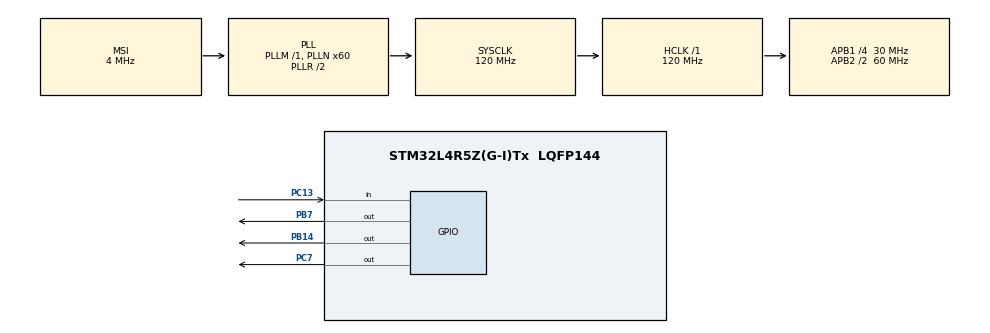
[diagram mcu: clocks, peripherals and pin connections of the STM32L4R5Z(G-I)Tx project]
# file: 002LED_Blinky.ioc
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Mcu.Family=STM32L4
Mcu.Name=STM32L4R5Z(G-I)Tx
Mcu.Package=LQFP144
NVIC.PriorityGroup=NVIC_PRIORITYGROUP_4
NVIC.TIM6_DAC_IRQn=true\:15\:0\:false\:false\:true\:false\:true
NVIC.TimeBase=TIM6_DAC_IRQn
NVIC.TimeBaseIP=TIM6
PB14.Signal=GPIO_Output
PB7.Signal=GPIO_Output
PC13.Signal=GPIO_Input
PC7.Signal=GPIO_Output
ProjectManager.HeapSize=0x200
ProjectManager.StackSize=0x400
ProjectManager.TargetToolchain=STM32CubeIDE
RCC.ADCFreq_Value=16000000
RCC.AHBFreq_Value=120000000
RCC.APB1CLKDivider=RCC_HCLK_DIV4
RCC.APB1Freq_Value=30000000
RCC.APB1TimFreq_Value=60000000
RCC.APB2CLKDivider=RCC_HCLK_DIV2
RCC.APB2Freq_Value=60000000
RCC.APB2TimFreq_Value=120000000
RCC.CortexFreq_Value=120000000
RCC.HCLKFreq_Value=120000000
RCC.HSE_VALUE=8000000
RCC.HSI48_VALUE=48000000
RCC.HSI_VALUE=16000000
RCC.LSE_VALUE=32768
RCC.MSI_VALUE=4000000
RCC.PLLN=60
RCC.SYSCLKFreq_VALUE=120000000
RCC.SYSCLKSource=RCC_SYSCLKSOURCE_PLLCLK
RCC.USBFreq_Value=16000000
RCC.VCOOutputFreq_Value=240000000
VP_SYS_VS_tim6.Mode=TIM6
board=custom

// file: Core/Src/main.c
/* USER CODE BEGIN Header */
/**
  ******************************************************************************
  * @file           : main.c
  * @brief          : Main program body
  ******************************************************************************
  * @attention
  *
  * Copyright (c) 2022 STMicroelectronics.
  * All rights reserved.
  *
  * This software is licensed under terms that can be found in the LICENSE file
  * in the root directory of this software component.
  * If no LICENSE file comes with this software, it is provided AS-IS.
  *
  ******************************************************************************
  */
/* USER CODE END Header */
#include "main.h"

/* USER CODE BEGIN Includes */
#include <stdio.h>

#include "FreeRTOS.h"
#include "task.h"
#include "SEGGER_SYSVIEW.h"

/* USER CODE END Includes */

/* USER CODE BEGIN PV */
#define DWT_CTRL (*(volatile uint32_t*) 0xE0001000)
/* USER CODE END PV */

void SystemClock_Config(void);
static void MX_GPIO_Init(void);
/* USER CODE BEGIN PFP */
BaseType_t NotifyAndSuspend(TaskHandle_t handle);
static void handler_LED_red(void* parameters);
static void handler_LED_green(void* parameters);
static void handler_LED_blue(void* parameters);
static void handler_button(void* parameters);
TaskHandle_t task_to_delete;
TaskHandle_t handle_LED_green;
TaskHandle_t handle_LED_red;
TaskHandle_t handle_LED_blue;
TaskHandle_t handle_button;

/* USER CODE END PFP */

int main(void)
{
  /* USER CODE BEGIN 1 */

	  BaseType_t status;

  /* USER CODE END 1 */

  /* MCU Configuration--------------------------------------------------------*/

  /* Reset of all peripherals, Initializes the Flash interface and the Systick. */
  HAL_Init();

  /* Configure the system clock */
  SystemClock_Config();

  /* Initialize all configured peripherals */
  MX_GPIO_Init();
  /* USER CODE BEGIN 2 */
  DWT_CTRL |= (1 << 0);

  SEGGER_SYSVIEW_Conf();
  SEGGER_SYSVIEW_Start();
//  SEGGER_UART_Init(500000);

  status = xTaskCreate(handler_LED_green, "Task-Green", 200, NULL,
              2, &handle_LED_green);
  configASSERT(status == pdPASS);

  status = xTaskCreate(handler_LED_red, "Task-Red", 200, NULL,
              2, &handle_LED_red);
  configASSERT(status == pdPASS);

  status = xTaskCreate(handler_LED_blue, "Task-Blue", 200, NULL,
              2, &handle_LED_blue);
  configASSERT(status == pdPASS);

  status = xTaskCreate(handler_button, "Task-Button", 200, NULL,
              3, &handle_button);
  configASSERT(status == pdPASS);

  vTaskStartScheduler();
  /* USER CODE END 2 */

  /* Infinite loop */
  while (1)
  {

  }
}

void SystemClock_Config(void)
{
  RCC_OscInitTypeDef RCC_OscInitStruct = {0};
  RCC_ClkInitTypeDef RCC_ClkInitStruct = {0};

  /** Configure the main internal regulator output voltage
  */
  if (HAL_PWREx_ControlVoltageScaling(PWR_REGULATOR_VOLTAGE_SCALE1_BOOST) != HAL_OK)
  {
    Error_Handler();
  }
  /** Initializes the RCC Oscillators according to the specified parameters
  * in the RCC_OscInitTypeDef structure.
  */
  RCC_OscInitStruct.OscillatorType = RCC_OSCILLATORTYPE_MSI;
  RCC_OscInitStruct.MSIState = RCC_MSI_ON;
  RCC_OscInitStruct.MSICalibrationValue = 0;
  RCC_OscInitStruct.MSIClockRange = RCC_MSIRANGE_6;
  RCC_OscInitStruct.PLL.PLLState = RCC_PLL_ON;
  RCC_OscInitStruct.PLL.PLLSource = RCC_PLLSOURCE_MSI;
  RCC_OscInitStruct.PLL.PLLM = 1;
  RCC_OscInitStruct.PLL.PLLN = 60;
  RCC_OscInitStruct.PLL.PLLP = RCC_PLLP_DIV2;
  RCC_OscInitStruct.PLL.PLLQ = RCC_PLLQ_DIV2;
  RCC_OscInitStruct.PLL.PLLR = RCC_PLLR_DIV2;
  if (HAL_RCC_OscConfig(&RCC_OscInitStruct) != HAL_OK)
  {
    Error_Handler();
  }
  /** Initializes the CPU, AHB and APB buses clocks
  */
  RCC_ClkInitStruct.ClockType = RCC_CLOCKTYPE_HCLK|RCC_CLOCKTYPE_SYSCLK
                              |RCC_CLOCKTYPE_PCLK1|RCC_CLOCKTYPE_PCLK2;
  RCC_ClkInitStruct.SYSCLKSource = RCC_SYSCLKSOURCE_PLLCLK;
  RCC_ClkInitStruct.AHBCLKDivider = RCC_SYSCLK_DIV1;
  RCC_ClkInitStruct.APB1CLKDivider = RCC_HCLK_DIV4;
  RCC_ClkInitStruct.APB2CLKDivider = RCC_HCLK_DIV2;

  if (HAL_RCC_ClockConfig(&RCC_ClkInitStruct, FLASH_LATENCY_5) != HAL_OK)
  {
    Error_Handler();
  }
}

static void MX_GPIO_Init(void)
{
  GPIO_InitTypeDef GPIO_InitStruct = {0};

  /* GPIO Ports Clock Enable */
  __HAL_RCC_GPIOC_CLK_ENABLE();
  __HAL_RCC_GPIOB_CLK_ENABLE();

  /*Configure GPIO pin Output Level */
  HAL_GPIO_WritePin(GPIOB, GPIO_PIN_14|GPIO_PIN_7, GPIO_PIN_RESET);

  /*Configure GPIO pin Output Level */
  HAL_GPIO_WritePin(GPIOC, GPIO_PIN_7, GPIO_PIN_RESET);

  /*Configure GPIO pin : PC13 */
  GPIO_InitStruct.Pin = GPIO_PIN_13;
  GPIO_InitStruct.Mode = GPIO_MODE_INPUT;
  GPIO_InitStruct.Pull = GPIO_NOPULL;
  HAL_GPIO_Init(GPIOC, &GPIO_InitStruct);

  /*Configure GPIO pins : PB14 PB7 */
  GPIO_InitStruct.Pin = GPIO_PIN_14|GPIO_PIN_7;
  GPIO_InitStruct.Mode = GPIO_MODE_OUTPUT_PP;
  GPIO_InitStruct.Pull = GPIO_NOPULL;
  GPIO_InitStruct.Speed = GPIO_SPEED_FREQ_LOW;
  HAL_GPIO_Init(GPIOB, &GPIO_InitStruct);

  /*Configure GPIO pin : PC7 */
  GPIO_InitStruct.Pin = GPIO_PIN_7;
  GPIO_InitStruct.Mode = GPIO_MODE_OUTPUT_PP;
  GPIO_InitStruct.Pull = GPIO_NOPULL;
  GPIO_InitStruct.Speed = GPIO_SPEED_FREQ_LOW;
  HAL_GPIO_Init(GPIOC, &GPIO_InitStruct);

}

/* USER CODE BEGIN 4 */
static void handler_LED_red(void* parameters)
{
	const TickType_t xPeriod = pdMS_TO_TICKS(250);
	TickType_t xLastWakeTime = xTaskGetTickCount();

  while(1)
  {
	  vTaskDelayUntil(&xLastWakeTime, xPeriod);
//    SEGGER_SYSVIEW_PrintfTarget("Toggling RED");
	  HAL_GPIO_TogglePin(GPIOB, GPIO_PIN_14);
		if (xTaskNotifyWait(0, 0, NULL, 0))
		{
			HAL_GPIO_WritePin(GPIOB, GPIO_PIN_14, GPIO_PIN_SET);
			xTaskNotify(handle_button, 0, eNoAction);
		}
  }
}

static void handler_LED_blue(void* parameters)
{
  const TickType_t xPeriod = pdMS_TO_TICKS(250);
  vTaskDelay(pdMS_TO_TICKS(50));
  TickType_t xLastWakeTime = xTaskGetTickCount();

  while(1)
  {
		vTaskDelayUntil(&xLastWakeTime, xPeriod);
    HAL_GPIO_TogglePin(GPIOB, GPIO_PIN_7);
		if (xTaskNotifyWait(0, 0, NULL, 0))
		{
			HAL_GPIO_WritePin(GPIOB, GPIO_PIN_7, GPIO_PIN_SET);
			xTaskNotify(handle_button, 0, eNoAction);
		}
  }
}

static void handler_LED_green(void* parameters)
{
  const TickType_t xPeriod = pdMS_TO_TICKS(250);
  vTaskDelay(pdMS_TO_TICKS(100));
  TickType_t xLastWakeTime = xTaskGetTickCount();

  while(1)
  {
		vTaskDelayUntil(&xLastWakeTime, xPeriod);
		HAL_GPIO_TogglePin(GPIOC, GPIO_PIN_7);
		if (xTaskNotifyWait(0, 0, NULL, 0))
		{
			HAL_GPIO_WritePin(GPIOC, GPIO_PIN_7, GPIO_PIN_SET);
			xTaskNotify(handle_button, 0, eNoAction);
		}
  }
}

static void handler_button(void* parameters)
{
	GPIO_PinState button_state = GPIO_PIN_RESET; //off
	GPIO_PinState button_state_prev = GPIO_PIN_RESET;

	const TickType_t xPeriod = pdMS_TO_TICKS(25);
	TickType_t xLastWakeTime = xTaskGetTickCount();

	uint8_t state = 0;

	while(1)
	{
		vTaskDelayUntil(&xLastWakeTime, xPeriod);

		button_state_prev = button_state;
		button_state = HAL_GPIO_ReadPin(GPIOC, GPIO_PIN_13);

		if (button_state==GPIO_PIN_SET && button_state_prev==GPIO_PIN_RESET)
		{
			SEGGER_SYSVIEW_PrintfTarget("Button pressed");

			switch(state)
			{
				case 0:
					if(NotifyAndSuspend(handle_LED_red))
						++state;
					break;
				case 1:
					if(NotifyAndSuspend(handle_LED_blue))
						++state;
					break;
				case 2:
					if(NotifyAndSuspend(handle_LED_green))
						++state;
					break;
				case 3:
					vTaskResume(handle_LED_red);
					vTaskResume(handle_LED_blue);
					vTaskResume(handle_LED_green);
					state = 0;
					break;
			}
		}
	}
}

BaseType_t NotifyAndSuspend(TaskHandle_t handle)
{
	BaseType_t status;
	xTaskNotify(handle, 0, eNoAction);
	status = xTaskNotifyWait(0, 0, NULL, pdMS_TO_TICKS(1000));
	if (status)
		vTaskSuspend(handle);
	return status;
}
/* USER CODE END 4 */

void HAL_TIM_PeriodElapsedCallback(TIM_HandleTypeDef *htim)
{
  if (htim->Instance == TIM6) {
    HAL_IncTick();
  }
}

void Error_Handler(void)
{
  __disable_irq();
  while (1)
  {
  }
}
